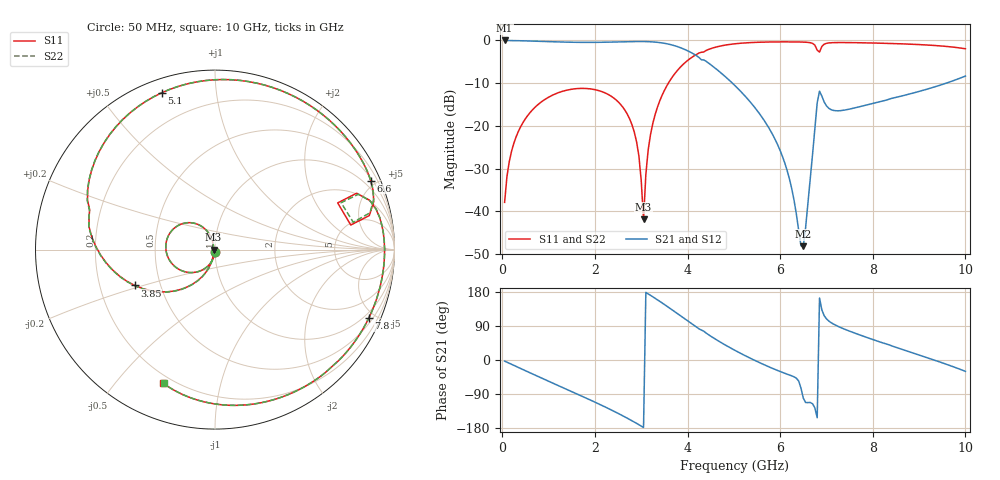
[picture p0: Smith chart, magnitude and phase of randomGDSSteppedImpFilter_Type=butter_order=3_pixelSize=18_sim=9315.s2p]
! freq	dB(S11)	phase(S11)	dB(S12)	phase(S12)
!  dB(S21)	phase(S21)	dB(S22)	phase(S22)
!S-par simulation data
#  GHz  S  DB  R 50
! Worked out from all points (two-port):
!   200 points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, 50 MHz to 10 GHz, reference 50 ohm
!   highest |S21| = -0.01 dB at 50 MHz (marker M1); lowest = -48.1 dB at 6.5 GHz (marker M2)
!   |S21| within 3 dB of the highest: start of sweep to 4.107 GHz
!   lowest |S11| = -41.9 dB at 3.05 GHz (marker M3), VSWR 1.02, Z = 49.2 - j0.116 ohm
!   |S11| at or under -10 dB: start of sweep to 3.586 GHz
!   |S22| runs from -42.5 to -0.3 dB; largest |S21 - S12| = 0
!   S11 on the Smith chart (normalised r, x): 50 MHz: 1.00, -0.03; 3.85 GHz: 0.36, -0.19; 5.1 GHz: 0.06, +0.71; 6.6 GHz: 0.60, +4.66; 7.8 GHz: 0.73, -4.62; 10 GHz: 0.16, -0.67
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0.05  -37.87 -92.6  -0.01 -2.9  -0.01 -2.9  -37.87 -92.6
0.2  -25.92 -101.5  -0.03 -11.4  -0.03 -11.4  -25.92 -101.5
0.5  -18.30 -118.8  -0.10 -28.3  -0.10 -28.3  -18.30 -118.8
1.75  -11.21 172.3  -0.46 -97.2  -0.46 -97.2  -11.21 172.3
2.75  -18.36 114.6  -0.27 -156.9  -0.27 -156.9  -18.36 114.5
2.95  -27.05 106.9  -0.25 -170.7  -0.25 -170.7  -27.07 106.3
3.05  -41.88 -171.6  -0.26 -178.0  -0.26 -178.0  -42.46 -171.0
3.15  -25.63 -105.1  -0.29 174.6  -0.29 174.6  -25.64 -104.3
3.4  -14.14 -119.0  -0.51 154.8  -0.51 154.8  -14.14 -118.6
3.85  -6.20 -155.9  -1.71 116.5  -1.71 116.5  -6.19 -155.7
4.45  -2.12 154.8  -5.26 66.9  -5.26 66.9  -2.12 155.0
5.05  -0.75 112.0  -10.84 23.7  -10.84 23.7  -0.75 112.2
5.1  -0.70 108.8  -11.39 20.5  -11.39 20.5  -0.70 109.0
6  -0.34 56.5  -25.76 -30.4  -25.76 -30.4  -0.34 56.8
6.5  -0.39 29.8  -48.12 -100.6  -48.12 -100.6  -0.38 30.2
6.6  -0.45 23.9  -38.15 -112.4  -38.15 -112.4  -0.44 24.4
6.7  -0.69 16.8  -26.59 -115.5  -26.59 -115.5  -0.66 17.5
6.85  -2.72 20.8  -11.86 163.5  -11.86 163.5  -2.50 20.4
7.1  -0.54 8.1  -16.19 98.5  -16.19 98.5  -0.53 8.0
7.8  -0.56 -23.9  -15.28 62.6  -15.28 62.6  -0.56 -23.8
8.35  -0.72 -45.9  -13.74 40.1  -13.74 40.1  -0.72 -45.8
10  -1.95 -111.1  -8.34 -29.9  -8.34 -29.9  -1.95 -111.0
